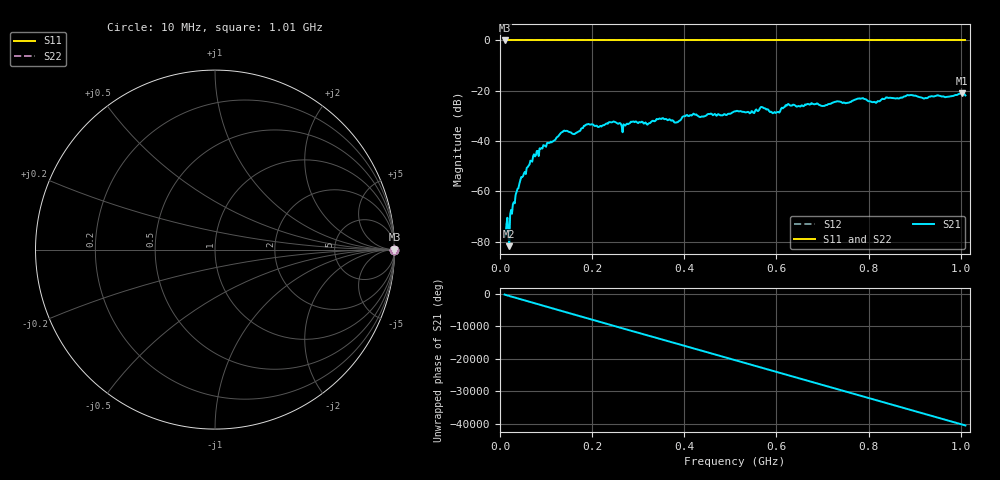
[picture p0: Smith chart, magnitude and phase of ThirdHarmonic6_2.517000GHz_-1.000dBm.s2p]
! 8/17/2025 4:56:00 AM
! C:\ANRITSUVNA\TEMP\TEMP.S2P
! CHANNEL.1
! TR.MEASUREMENT
! RAW.DATA
! RF.CORRECTION.OFF
! AVERAGING.OFF
! IF.BANDWIDTH: 5KHZ
! SWEEPTYPE:  FREQ.SWEEP(Linear)
! Reference Plane Port Info
! PORT:  PORT1  PORT2
! DISTANCE:  0  m  0  m
! TIME:  0  s  0  s
! PHASE.OFFSET:  0  deg.  0  deg.
! LOSS:  0  dB  0  dB
! REF.LOSS:  0  dB  0  dB
! REF.FREQ:  0  Hz  0  Hz
! Power Info
! POWER:  -20  dBm  -20  dBm
! EFF.POWER:  -20  dBm  -20  dBm
! SOURCE.ATTEN:  0  dB  0  dB
! TEST.ATTEN:  0  dB  0  dB
# GHZ S RI R 50.0
! FREQ.GHZ  S11RE  S11IM  S21RE  S21IM  S12RE  S12IM  S22RE  S22IM
!; PortSelection: Port_12
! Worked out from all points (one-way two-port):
!   501 points, 10 MHz to 1.01 GHz, reference 50 ohm
!   highest |S21| = -20.98 dB at 1.002 GHz (marker M1); lowest = -81.8 dB at 20 MHz (marker M2)
!   lowest |S11| = 0.0 dB at 10 MHz (marker M3)
!   |S11| at or under -10 dB: nowhere
!   |S22| runs from 0.0 to 0.0 dB; largest |S21 - S12| = 1.1
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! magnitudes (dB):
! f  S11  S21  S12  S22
! 10 MHz  0.0  -78.1  0.0  0.0
! 20 MHz  0.0  -81.8  0.0  0.0
! 42 MHz  0.0  -57.0  0.0  0.0
! 76 MHz  0.0  -46.1  0.0  0.0
! 136 MHz  0.0  -36.3  0.0  0.0
! 162 MHz  0.0  -37.2  0.0  0.0
! 178 MHz  0.0  -34.9  0.0  0.0
! 244 MHz  0.0  -32.5  0.0  0.0
! 268 MHz  0.0  -33.3  0.0  0.0
! 288 MHz  0.0  -32.3  0.0  0.0
! 322 MHz  0.0  -33.1  0.0  0.0
! 344 MHz  0.0  -31.3  0.0  0.0
! 382 MHz  0.0  -32.6  0.0  0.0
! 402 MHz  0.0  -30.1  0.0  0.0
! 510 MHz  0.0  -28.2  0.0  0.0
! 570 MHz  0.0  -26.6  0.0  0.0
! 596 MHz  0.0  -28.5  0.0  0.0
! 624 MHz  0.0  -25.4  0.0  0.0
! 678 MHz  0.0  -25.2  0.0  0.0
! 844 MHz  0.0  -22.8  0.0  0.0
! 1.002 GHz  0.0  -21.0  0.0  0.0
! 1.01 GHz  0.0  -21.9  0.0  0.0
